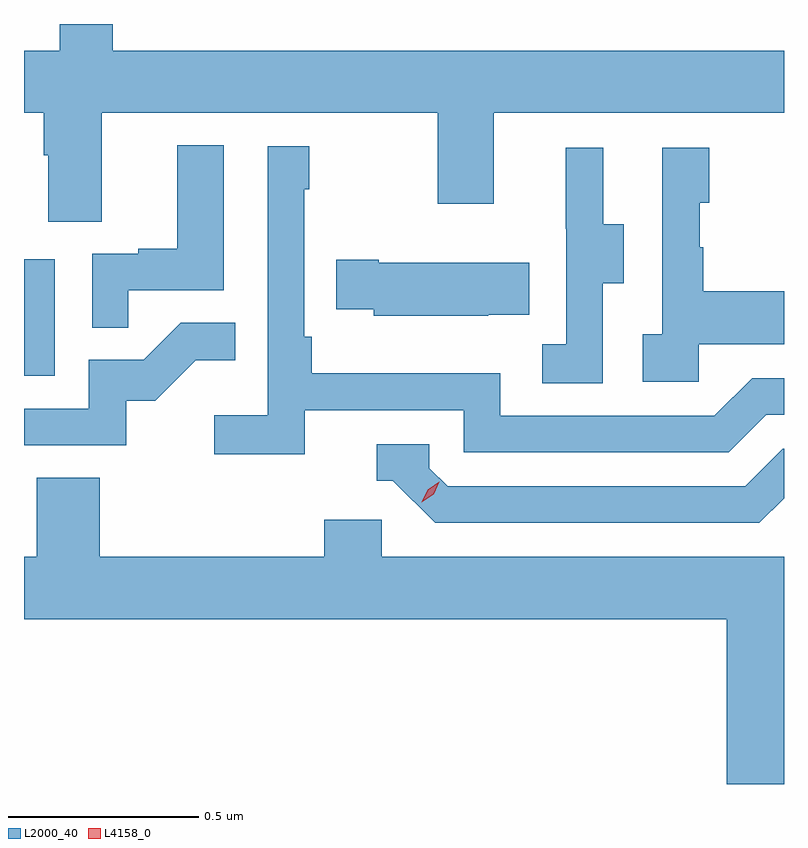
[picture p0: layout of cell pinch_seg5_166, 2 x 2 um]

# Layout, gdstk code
import gdstk
lib = gdstk.Library(unit=1e-6, precision=1e-09)
def R(c, l, rs):  # rectangles x0, y0, x1, y1
    for r in rs: c.add(gdstk.rectangle(r[:2], r[2:], *l))
def P(c, l, *ps):  # polygons
    for p in ps: c.add(gdstk.Polygon(p, *l))
L2000_40 = (2000, 40)
L4158_0 = (4158, 0)

pinch_seg5_166 = lib.new_cell('pinch_seg5_166')
R(pinch_seg5_166, L2000_40, [(1084.927,882.708,1085.008,883.015)])
P(pinch_seg5_166, L2000_40, [(1085.131,883.4),(1086.016,883.4),(1086.016,883.161),(1086.163,883.161),(1086.163,883.4),(1086.927,883.4),(1086.927,883.564),(1085.161,883.564),(1085.161,883.634),(1085.021,883.634),(1085.021,883.564),(1084.927,883.564),(1084.927,883.4),(1084.979,883.4),(1084.979,883.288),(1084.991,883.288),(1084.991,883.114),(1085.131,883.114)],
  [(1085.201,882.933),(1085.452,882.933),(1085.452,883.315),(1085.33,883.315),(1085.33,883.042),(1085.227,883.042),(1085.227,883.029),(1085.106,883.029),(1085.106,882.835),(1085.201,882.835)],
  [(1085.666,882.618),(1086.084,882.618),(1086.084,882.507),(1086.781,882.507),(1086.88,882.606),(1086.927,882.606),(1086.927,882.702),(1086.843,882.702),(1086.744,882.603),(1086.18,882.603),(1086.18,882.715),(1085.684,882.715),(1085.684,882.811),(1085.664,882.811),(1085.664,883.199),(1085.677,883.199),(1085.677,883.312),(1085.568,883.312),(1085.568,882.604),(1085.427,882.604),(1085.427,882.502),(1085.666,882.502)],
  [(1086.45,882.952),(1086.505,882.952),(1086.505,883.107),(1086.451,883.107),(1086.451,883.309),(1086.353,883.309),(1086.353,883.095),(1086.354,883.095),(1086.354,882.791),(1086.291,882.791),(1086.291,882.688),(1086.45,882.688)],
  [(1086.702,882.791),(1086.927,882.791),(1086.927,882.931),(1086.715,882.931),(1086.715,883.046),(1086.705,883.046),(1086.705,883.164),(1086.73,883.164),(1086.73,883.309),(1086.606,883.309),(1086.606,882.818),(1086.555,882.818),(1086.555,882.693),(1086.702,882.693)],
  [(1086.149,882.869),(1086.257,882.869),(1086.257,883.006),(1085.86,883.006),(1085.86,883.014),(1085.749,883.014),(1085.749,882.884),(1085.847,882.884),(1085.847,882.866),(1086.149,882.866)],
  [(1085.196,882.642),(1085.272,882.642),(1085.379,882.749),(1085.483,882.749),(1085.483,882.848),(1085.34,882.848),(1085.242,882.75),(1085.097,882.75),(1085.097,882.621),(1084.927,882.621),(1084.927,882.525),(1085.196,882.525)],
  [(1086.927,882.386),(1086.927,882.516),(1086.924,882.516),(1086.825,882.417),(1086.042,882.417),(1085.994,882.465),(1085.994,882.528),(1085.855,882.528),(1085.855,882.432),(1085.898,882.432),(1086.009,882.321),(1086.862,882.321)],
  [(1086.927,882.232),(1085.868,882.232),(1085.868,882.33),(1085.717,882.33),(1085.717,882.232),(1085.126,882.232),(1085.126,882.44),(1084.961,882.44),(1084.961,882.232),(1084.927,882.232),(1084.927,882.068),(1086.776,882.068),(1086.776,881.634),(1086.927,881.634)])
P(pinch_seg5_166, L4158_0, [(1085.974,882.376),(1085.974,882.376),(1085.99,882.409),(1086.02,882.429),(1086.02,882.429),(1086.02,882.429),(1086.005,882.396),(1085.974,882.376)])

lib.write_gds('pinch_seg5_166.gds')
